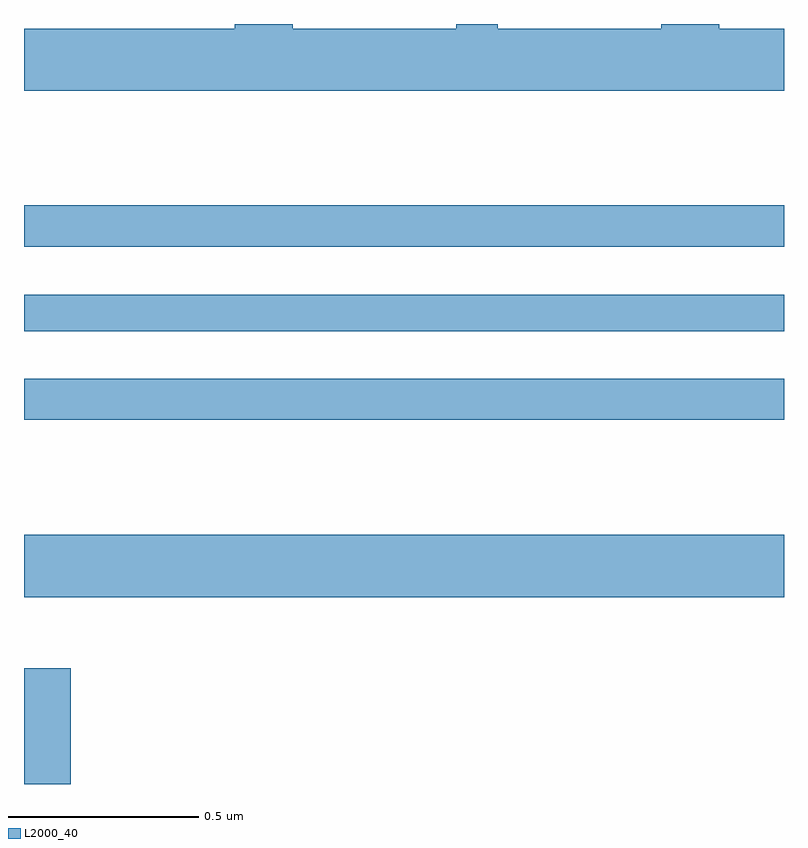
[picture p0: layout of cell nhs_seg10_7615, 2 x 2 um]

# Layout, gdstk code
import gdstk
lib = gdstk.Library(unit=1e-6, precision=1e-09)
def R(c, l, rs):  # rectangles x0, y0, x1, y1
    for r in rs: c.add(gdstk.rectangle(r[:2], r[2:], *l))
def P(c, l, *ps):  # polygons
    for p in ps: c.add(gdstk.Polygon(p, *l))
L2000_40 = (2000, 40)

nhs_seg10_7615 = lib.new_cell('nhs_seg10_7615')
R(nhs_seg10_7615, L2000_40, [(206,1290.5,206.123,1290.805), (206,1290.992,208,1291.156), (206,1291.458,208,1291.566), (206,1291.692,208,1291.788), (206,1291.914,208,1292.023)])
P(nhs_seg10_7615, L2000_40, [(208,1292.488),(207.83,1292.488),(207.83,1292.5),(207.677,1292.5),(207.677,1292.488),(207.247,1292.488),(207.247,1292.5),(207.137,1292.5),(207.137,1292.488),(206.707,1292.488),(206.707,1292.5),(206.555,1292.5),(206.555,1292.488),(206,1292.488),(206,1292.324),(208,1292.324)])

lib.write_gds('nhs_seg10_7615.gds')
